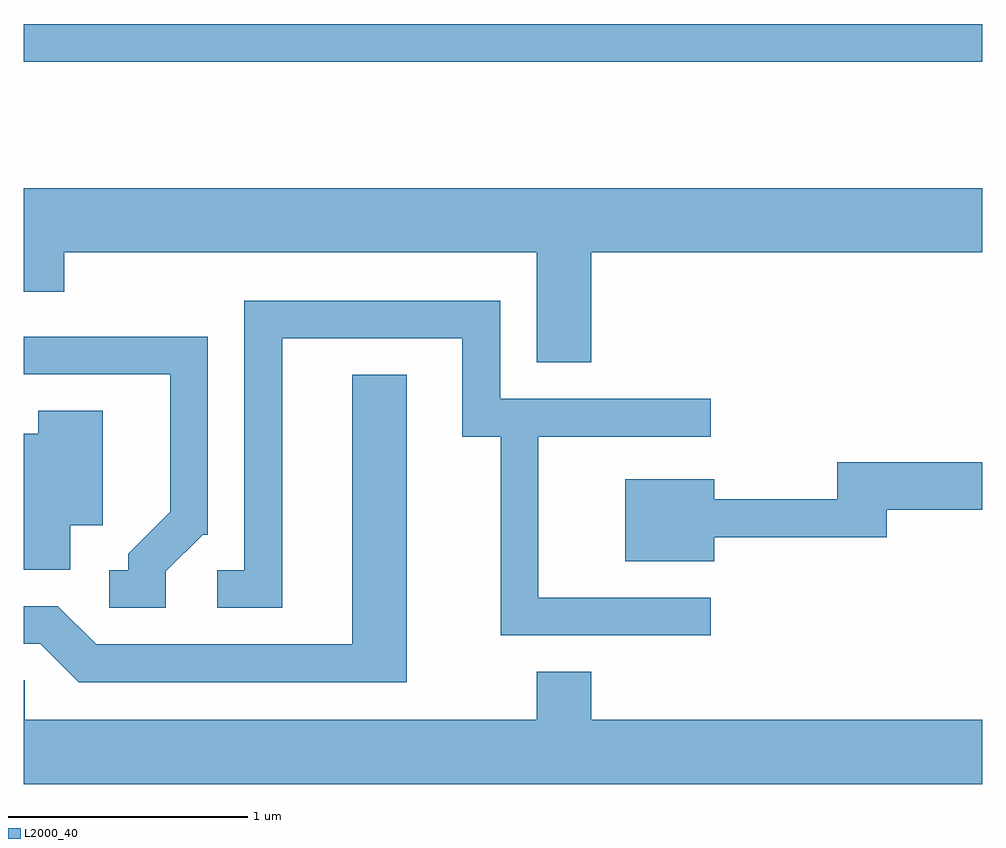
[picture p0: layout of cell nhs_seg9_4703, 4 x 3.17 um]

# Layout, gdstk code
import gdstk
lib = gdstk.Library(unit=1e-6, precision=1e-09)
def R(c, l, rs):  # rectangles x0, y0, x1, y1
    for r in rs: c.add(gdstk.rectangle(r[:2], r[2:], *l))
def P(c, l, *ps):  # polygons
    for p in ps: c.add(gdstk.Polygon(p, *l))
L2000_40 = (2000, 40)

nhs_seg9_4703 = lib.new_cell('nhs_seg9_4703')
R(nhs_seg9_4703, L2000_40, [(323.611,2021.471,327.611,2021.629)])
P(nhs_seg9_4703, L2000_40, [(325.979,2020.676),(327.611,2020.676),(327.611,2020.944),(323.611,2020.944),(323.611,2020.511),(323.779,2020.511),(323.779,2020.676),(325.751,2020.676),(325.751,2020.216),(325.979,2020.216)],
  [(326.478,2019.234),(325.759,2019.234),(325.759,2019.906),(326.478,2019.906),(326.478,2020.064),(325.599,2020.064),(325.599,2020.474),(324.531,2020.474),(324.531,2019.349),(324.418,2019.349),(324.418,2019.191),(324.689,2019.191),(324.689,2020.316),(325.441,2020.316),(325.441,2019.906),(325.601,2019.906),(325.601,2019.076),(326.478,2019.076)],
  [(324.204,2019.344),(324.357,2019.496),(324.379,2019.496),(324.379,2020.324),(323.611,2020.324),(323.611,2020.166),(324.221,2020.166),(324.221,2019.592),(324.046,2019.417),(324.046,2019.349),(323.968,2019.349),(323.968,2019.191),(324.204,2019.191)],
  [(325.209,2020.164),(324.981,2020.164),(324.981,2019.039),(323.912,2019.039),(323.752,2019.199),(323.611,2019.199),(323.611,2019.041),(323.679,2019.041),(323.839,2018.881),(325.209,2018.881)],
  [(323.804,2019.536),(323.939,2019.536),(323.939,2020.014),(323.671,2020.014),(323.671,2019.919),(323.611,2019.919),(323.611,2019.351),(323.804,2019.351)],
  [(326.494,2019.486),(327.214,2019.486),(327.214,2019.601),(327.611,2019.601),(327.611,2019.799),(327.006,2019.799),(327.006,2019.644),(326.494,2019.644),(326.494,2019.729),(326.121,2019.729),(326.121,2019.386),(326.494,2019.386)],
  [(327.611,2018.724),(325.979,2018.724),(325.979,2018.924),(325.751,2018.924),(325.751,2018.724),(323.614,2018.724),(323.614,2018.889),(323.611,2018.889),(323.611,2018.456),(327.611,2018.456)])

lib.write_gds('nhs_seg9_4703.gds')
